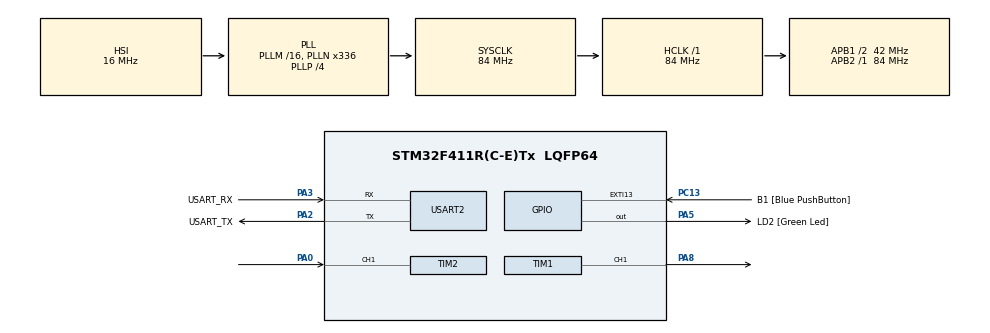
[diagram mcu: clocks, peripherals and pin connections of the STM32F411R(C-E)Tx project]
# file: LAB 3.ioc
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Dma.Request0=TIM2_CH1
Dma.TIM2_CH1.0.Direction=DMA_PERIPH_TO_MEMORY
Dma.TIM2_CH1.0.FIFOMode=DMA_FIFOMODE_DISABLE
Dma.TIM2_CH1.0.Instance=DMA1_Stream5
Dma.TIM2_CH1.0.MemDataAlignment=DMA_MDATAALIGN_WORD
Dma.TIM2_CH1.0.MemInc=DMA_MINC_ENABLE
Dma.TIM2_CH1.0.Mode=DMA_CIRCULAR
Dma.TIM2_CH1.0.PeriphDataAlignment=DMA_PDATAALIGN_WORD
Dma.TIM2_CH1.0.PeriphInc=DMA_PINC_DISABLE
Dma.TIM2_CH1.0.Priority=DMA_PRIORITY_LOW
Mcu.Family=STM32F4
Mcu.Name=STM32F411R(C-E)Tx
Mcu.Package=LQFP64
NVIC.DMA1_Stream5_IRQn=true\:0\:0\:false\:false\:true\:false\:true\:true
NVIC.PriorityGroup=NVIC_PRIORITYGROUP_0
PA0-WKUP.Signal=S_TIM2_CH1_ETR
PA13.GPIO_Label=TMS
PA13.Mode=Serial_Wire
PA13.Signal=SYS_JTMS-SWDIO
PA14.GPIO_Label=TCK
PA14.Mode=Serial_Wire
PA14.Signal=SYS_JTCK-SWCLK
PA2.GPIO_Label=USART_TX
PA2.Mode=Asynchronous
PA2.Signal=USART2_TX
PA3.GPIO_Label=USART_RX
PA3.Mode=Asynchronous
PA3.Signal=USART2_RX
PA5.GPIO_Label=LD2 [Green Led]
PA5.Signal=GPIO_Output
PA8.Signal=S_TIM1_CH1
PB3.GPIO_Label=SWO
PB3.Signal=SYS_JTDO-SWO
PC13-ANTI_TAMP.GPIO_Label=B1 [Blue PushButton]
PC13-ANTI_TAMP.GPIO_ModeDefaultEXTI=GPIO_MODE_IT_FALLING
PC13-ANTI_TAMP.Signal=GPXTI13
PC14-OSC32_IN.Mode=LSE-External-Oscillator
PC14-OSC32_IN.Signal=RCC_OSC32_IN
PC15-OSC32_OUT.Mode=LSE-External-Oscillator
PC15-OSC32_OUT.Signal=RCC_OSC32_OUT
PH0\ -\ OSC_IN.Mode=HSE-External-Clock-Source
PH0\ -\ OSC_IN.Signal=RCC_OSC_IN
PH1\ -\ OSC_OUT.Mode=HSE-External-Clock-Source
PH1\ -\ OSC_OUT.Signal=RCC_OSC_OUT
ProjectManager.HeapSize=0x200
ProjectManager.StackSize=0x400
ProjectManager.TargetToolchain=STM32CubeIDE
RCC.48MHZClocksFreq_Value=84000000
RCC.AHBFreq_Value=84000000
RCC.APB1CLKDivider=RCC_HCLK_DIV2
RCC.APB1Freq_Value=42000000
RCC.APB1TimFreq_Value=84000000
RCC.APB2Freq_Value=84000000
RCC.APB2TimFreq_Value=84000000
RCC.CortexFreq_Value=84000000
RCC.FLatency-AdvancedSettings=FLASH_LATENCY_2
RCC.HCLKFreq_Value=84000000
RCC.HSE_VALUE=8000000
RCC.HSI_VALUE=16000000
RCC.PLLN=336
RCC.PLLP=RCC_PLLP_DIV4
RCC.SYSCLKFreq_VALUE=84000000
RCC.SYSCLKSource=RCC_SYSCLKSOURCE_PLLCLK
RCC.VCOOutputFreq_Value=336000000
SH.S_TIM1_CH1.0=TIM1_CH1,PWM Generation1 CH1
SH.S_TIM2_CH1_ETR.0=TIM2_CH1,Input_Capture1_from_TI1
TIM1.Channel-PWM\ Generation1\ CH1=TIM_CHANNEL_1
TIM1.Period=999
TIM1.Prescaler=83
TIM1.Pulse-PWM\ Generation1\ CH1=0
TIM2.Channel-Input_Capture1_from_TI1=TIM_CHANNEL_1
TIM2.Prescaler=83
USART2.VirtualMode=VM_ASYNC
VP_TIM1_VS_ClockSourceINT.Mode=Internal
VP_TIM2_VS_ClockSourceINT.Mode=Internal
board=NUCLEO-F411RE

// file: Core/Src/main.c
/* USER CODE BEGIN Header */
/**
  ******************************************************************************
  * @file           : main.c
  * @brief          : Main program body
  ******************************************************************************
  * @attention
  *
  * Copyright (c) 2023 STMicroelectronics.
  * All rights reserved.
  *
  * This software is licensed under terms that can be found in the LICENSE file
  * in the root directory of this software component.
  * If no LICENSE file comes with this software, it is provided AS-IS.
  *
  ******************************************************************************
  */
/* USER CODE END Header */
#include "main.h"

/* USER CODE BEGIN Includes */
#define IC_BUFFER_SIZE 20
/* USER CODE END Includes */

TIM_HandleTypeDef htim1;
TIM_HandleTypeDef htim2;
DMA_HandleTypeDef hdma_tim2_ch1;

UART_HandleTypeDef huart2;

/* USER CODE BEGIN PV */
uint32_t InputCaptureBuffer[IC_BUFFER_SIZE];
float averageRisingedgePeriod;
uint32_t MotorSetduty = 0;
float MotorReadRPM = 0;
int MotorControEnable = 0;
int MotorSetRPM = 0;
/* USER CODE END PV */

void SystemClock_Config(void);
static void MX_GPIO_Init(void);
static void MX_DMA_Init(void);
static void MX_USART2_UART_Init(void);
static void MX_TIM2_Init(void);
static void MX_TIM1_Init(void);
/* USER CODE BEGIN PFP */
float IC_Calc_Period();
/* USER CODE END PFP */

int main(void)
{

  /* MCU Configuration--------------------------------------------------------*/

  /* Reset of all peripherals, Initializes the Flash interface and the Systick. */
  HAL_Init();

  /* Configure the system clock */
  SystemClock_Config();

  /* Initialize all configured peripherals */
  MX_GPIO_Init();
  MX_DMA_Init();
  MX_USART2_UART_Init();
  MX_TIM2_Init();
  MX_TIM1_Init();
  /* USER CODE BEGIN 2 */

  HAL_TIM_Base_Start(&htim2);
  HAL_TIM_IC_Start_DMA(&htim2,TIM_CHANNEL_1,InputCaptureBuffer,IC_BUFFER_SIZE);

  HAL_TIM_Base_Start(&htim1);
  HAL_TIM_PWM_Start(&htim1, TIM_CHANNEL_1);
  /* USER CODE END 2 */

  /* Infinite loop */
  while (1)
  {

    /* USER CODE BEGIN 3 */
	  static uint32_t timestamp = 0;
	  if (HAL_GetTick()>= timestamp)
	  {
		  timestamp = HAL_GetTick()+500;
		  averageRisingedgePeriod = IC_Calc_Period();

		  __HAL_TIM_SET_COMPARE(&htim1,TIM_CHANNEL_1,MotorSetduty*10);
		  MotorReadRPM = (60*1000000)/((12*64)*averageRisingedgePeriod);

		  if(MotorControEnable == 0){
			  __HAL_TIM_SET_COMPARE(&htim1,TIM_CHANNEL_1,MotorSetduty*10);
		  }
		  else if(MotorControEnable == 1){
			  if(MotorReadRPM < MotorSetRPM){
				  MotorSetduty = MotorSetduty+1;
			  }
			  else if(MotorReadRPM > MotorSetRPM){
				  MotorSetduty = MotorSetduty-1;
			  }
		  }

	  }
  }
  /* USER CODE END 3 */
}

void SystemClock_Config(void)
{
  RCC_OscInitTypeDef RCC_OscInitStruct = {0};
  RCC_ClkInitTypeDef RCC_ClkInitStruct = {0};

  /** Configure the main internal regulator output voltage
  */
  __HAL_RCC_PWR_CLK_ENABLE();
  __HAL_PWR_VOLTAGESCALING_CONFIG(PWR_REGULATOR_VOLTAGE_SCALE1);

  /** Initializes the RCC Oscillators according to the specified parameters
  * in the RCC_OscInitTypeDef structure.
  */
  RCC_OscInitStruct.OscillatorType = RCC_OSCILLATORTYPE_HSI;
  RCC_OscInitStruct.HSIState = RCC_HSI_ON;
  RCC_OscInitStruct.HSICalibrationValue = RCC_HSICALIBRATION_DEFAULT;
  RCC_OscInitStruct.PLL.PLLState = RCC_PLL_ON;
  RCC_OscInitStruct.PLL.PLLSource = RCC_PLLSOURCE_HSI;
  RCC_OscInitStruct.PLL.PLLM = 16;
  RCC_OscInitStruct.PLL.PLLN = 336;
  RCC_OscInitStruct.PLL.PLLP = RCC_PLLP_DIV4;
  RCC_OscInitStruct.PLL.PLLQ = 4;
  if (HAL_RCC_OscConfig(&RCC_OscInitStruct) != HAL_OK)
  {
    Error_Handler();
  }

  /** Initializes the CPU, AHB and APB buses clocks
  */
  RCC_ClkInitStruct.ClockType = RCC_CLOCKTYPE_HCLK|RCC_CLOCKTYPE_SYSCLK
                              |RCC_CLOCKTYPE_PCLK1|RCC_CLOCKTYPE_PCLK2;
  RCC_ClkInitStruct.SYSCLKSource = RCC_SYSCLKSOURCE_PLLCLK;
  RCC_ClkInitStruct.AHBCLKDivider = RCC_SYSCLK_DIV1;
  RCC_ClkInitStruct.APB1CLKDivider = RCC_HCLK_DIV2;
  RCC_ClkInitStruct.APB2CLKDivider = RCC_HCLK_DIV1;

  if (HAL_RCC_ClockConfig(&RCC_ClkInitStruct, FLASH_LATENCY_2) != HAL_OK)
  {
    Error_Handler();
  }
}

static void MX_TIM1_Init(void)
{

  TIM_ClockConfigTypeDef sClockSourceConfig = {0};
  TIM_MasterConfigTypeDef sMasterConfig = {0};
  TIM_OC_InitTypeDef sConfigOC = {0};
  TIM_BreakDeadTimeConfigTypeDef sBreakDeadTimeConfig = {0};

  htim1.Instance = TIM1;
  htim1.Init.Prescaler = 83;
  htim1.Init.CounterMode = TIM_COUNTERMODE_UP;
  htim1.Init.Period = 999;
  htim1.Init.ClockDivision = TIM_CLOCKDIVISION_DIV1;
  htim1.Init.RepetitionCounter = 0;
  htim1.Init.AutoReloadPreload = TIM_AUTORELOAD_PRELOAD_DISABLE;
  if (HAL_TIM_Base_Init(&htim1) != HAL_OK)
  {
    Error_Handler();
  }
  sClockSourceConfig.ClockSource = TIM_CLOCKSOURCE_INTERNAL;
  if (HAL_TIM_ConfigClockSource(&htim1, &sClockSourceConfig) != HAL_OK)
  {
    Error_Handler();
  }
  if (HAL_TIM_PWM_Init(&htim1) != HAL_OK)
  {
    Error_Handler();
  }
  sMasterConfig.MasterOutputTrigger = TIM_TRGO_RESET;
  sMasterConfig.MasterSlaveMode = TIM_MASTERSLAVEMODE_DISABLE;
  if (HAL_TIMEx_MasterConfigSynchronization(&htim1, &sMasterConfig) != HAL_OK)
  {
    Error_Handler();
  }
  sConfigOC.OCMode = TIM_OCMODE_PWM1;
  sConfigOC.Pulse = 0;
  sConfigOC.OCPolarity = TIM_OCPOLARITY_HIGH;
  sConfigOC.OCNPolarity = TIM_OCNPOLARITY_HIGH;
  sConfigOC.OCFastMode = TIM_OCFAST_DISABLE;
  sConfigOC.OCIdleState = TIM_OCIDLESTATE_RESET;
  sConfigOC.OCNIdleState = TIM_OCNIDLESTATE_RESET;
  if (HAL_TIM_PWM_ConfigChannel(&htim1, &sConfigOC, TIM_CHANNEL_1) != HAL_OK)
  {
    Error_Handler();
  }
  sBreakDeadTimeConfig.OffStateRunMode = TIM_OSSR_DISABLE;
  sBreakDeadTimeConfig.OffStateIDLEMode = TIM_OSSI_DISABLE;
  sBreakDeadTimeConfig.LockLevel = TIM_LOCKLEVEL_OFF;
  sBreakDeadTimeConfig.DeadTime = 0;
  sBreakDeadTimeConfig.BreakState = TIM_BREAK_DISABLE;
  sBreakDeadTimeConfig.BreakPolarity = TIM_BREAKPOLARITY_HIGH;
  sBreakDeadTimeConfig.AutomaticOutput = TIM_AUTOMATICOUTPUT_DISABLE;
  if (HAL_TIMEx_ConfigBreakDeadTime(&htim1, &sBreakDeadTimeConfig) != HAL_OK)
  {
    Error_Handler();
  }
  HAL_TIM_MspPostInit(&htim1);

}

static void MX_TIM2_Init(void)
{

  TIM_ClockConfigTypeDef sClockSourceConfig = {0};
  TIM_MasterConfigTypeDef sMasterConfig = {0};
  TIM_IC_InitTypeDef sConfigIC = {0};

  htim2.Instance = TIM2;
  htim2.Init.Prescaler = 83;
  htim2.Init.CounterMode = TIM_COUNTERMODE_UP;
  htim2.Init.Period = 4294967295;
  htim2.Init.ClockDivision = TIM_CLOCKDIVISION_DIV1;
  htim2.Init.AutoReloadPreload = TIM_AUTORELOAD_PRELOAD_DISABLE;
  if (HAL_TIM_Base_Init(&htim2) != HAL_OK)
  {
    Error_Handler();
  }
  sClockSourceConfig.ClockSource = TIM_CLOCKSOURCE_INTERNAL;
  if (HAL_TIM_ConfigClockSource(&htim2, &sClockSourceConfig) != HAL_OK)
  {
    Error_Handler();
  }
  if (HAL_TIM_IC_Init(&htim2) != HAL_OK)
  {
    Error_Handler();
  }
  sMasterConfig.MasterOutputTrigger = TIM_TRGO_RESET;
  sMasterConfig.MasterSlaveMode = TIM_MASTERSLAVEMODE_DISABLE;
  if (HAL_TIMEx_MasterConfigSynchronization(&htim2, &sMasterConfig) != HAL_OK)
  {
    Error_Handler();
  }
  sConfigIC.ICPolarity = TIM_INPUTCHANNELPOLARITY_RISING;
  sConfigIC.ICSelection = TIM_ICSELECTION_DIRECTTI;
  sConfigIC.ICPrescaler = TIM_ICPSC_DIV1;
  sConfigIC.ICFilter = 0;
  if (HAL_TIM_IC_ConfigChannel(&htim2, &sConfigIC, TIM_CHANNEL_1) != HAL_OK)
  {
    Error_Handler();
  }

}

static void MX_USART2_UART_Init(void)
{

  huart2.Instance = USART2;
  huart2.Init.BaudRate = 115200;
  huart2.Init.WordLength = UART_WORDLENGTH_8B;
  huart2.Init.StopBits = UART_STOPBITS_1;
  huart2.Init.Parity = UART_PARITY_NONE;
  huart2.Init.Mode = UART_MODE_TX_RX;
  huart2.Init.HwFlowCtl = UART_HWCONTROL_NONE;
  huart2.Init.OverSampling = UART_OVERSAMPLING_16;
  if (HAL_UART_Init(&huart2) != HAL_OK)
  {
    Error_Handler();
  }

}

static void MX_DMA_Init(void)
{

  /* DMA controller clock enable */
  __HAL_RCC_DMA1_CLK_ENABLE();

  /* DMA interrupt init */
  /* DMA1_Stream5_IRQn interrupt configuration */
  HAL_NVIC_SetPriority(DMA1_Stream5_IRQn, 0, 0);
  HAL_NVIC_EnableIRQ(DMA1_Stream5_IRQn);

}

static void MX_GPIO_Init(void)
{
  GPIO_InitTypeDef GPIO_InitStruct = {0};

  /* GPIO Ports Clock Enable */
  __HAL_RCC_GPIOC_CLK_ENABLE();
  __HAL_RCC_GPIOH_CLK_ENABLE();
  __HAL_RCC_GPIOA_CLK_ENABLE();
  __HAL_RCC_GPIOB_CLK_ENABLE();

  /*Configure GPIO pin Output Level */
  HAL_GPIO_WritePin(LD2_GPIO_Port, LD2_Pin, GPIO_PIN_RESET);

  /*Configure GPIO pin : B1_Pin */
  GPIO_InitStruct.Pin = B1_Pin;
  GPIO_InitStruct.Mode = GPIO_MODE_IT_FALLING;
  GPIO_InitStruct.Pull = GPIO_NOPULL;
  HAL_GPIO_Init(B1_GPIO_Port, &GPIO_InitStruct);

  /*Configure GPIO pin : LD2_Pin */
  GPIO_InitStruct.Pin = LD2_Pin;
  GPIO_InitStruct.Mode = GPIO_MODE_OUTPUT_PP;
  GPIO_InitStruct.Pull = GPIO_NOPULL;
  GPIO_InitStruct.Speed = GPIO_SPEED_FREQ_LOW;
  HAL_GPIO_Init(LD2_GPIO_Port, &GPIO_InitStruct);

}

/* USER CODE BEGIN 4 */
float IC_Calc_Period()
{
	uint32_t currentDMAPointer = IC_BUFFER_SIZE - __HAL_DMA_GET_COUNTER((htim2.hdma[1]));
	uint32_t lastVaildDMAPointer = (currentDMAPointer-1 +IC_BUFFER_SIZE)%IC_BUFFER_SIZE;
	uint32_t i =(lastVaildDMAPointer + IC_BUFFER_SIZE - 5)% IC_BUFFER_SIZE;
	int32_t sumdiff = 0;
	while (i != lastVaildDMAPointer)
	{
		uint32_t firstCapture = InputCaptureBuffer[i];
		uint32_t NextCapture = InputCaptureBuffer[(i+1)%IC_BUFFER_SIZE];

		sumdiff += NextCapture -firstCapture;
		i = (i+1)% IC_BUFFER_SIZE;
	}
	return sumdiff / 5.0;

}
/* USER CODE END 4 */

void Error_Handler(void)
{
  __disable_irq();
  while (1)
  {
  }
}
